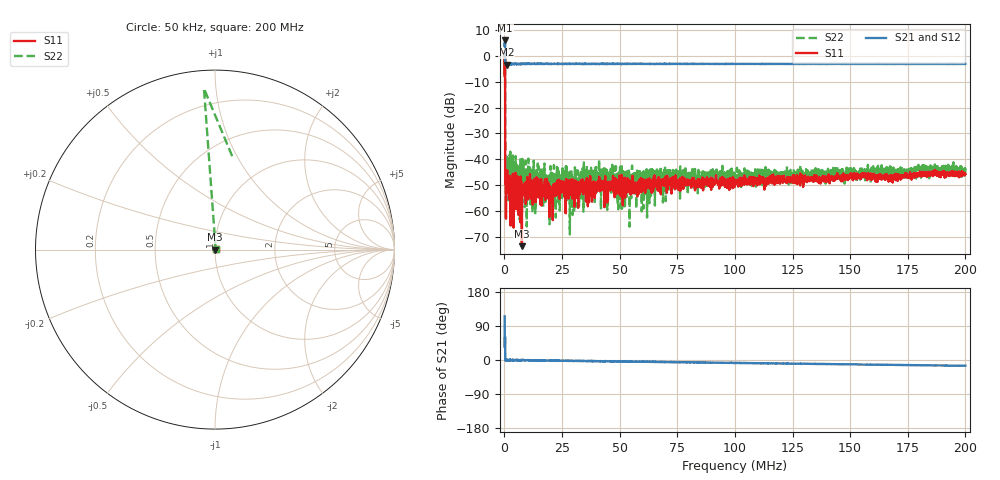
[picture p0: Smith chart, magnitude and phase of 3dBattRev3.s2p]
! 19-Feb-26 3:00:13 PM
! E:\VNA_MEASUREMENTS\RECBLOCK\3DBATTREV3.S2P
! CHANNEL.1
! TR.MEASUREMENT
! CORRECTED.DATA
# GHZ S RI R 50.0
! FREQ.GHZ  S11RE  S11IM  S21RE  S21IM  S12RE  S12IM  S22RE  S22IM
!; PortSelection: Port_12
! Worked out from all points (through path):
!   2000 points, 50 kHz to 200 MHz, reference 50 ohm
!   highest |S21| = 6.10 dB at 250 kHz (marker M1); lowest = -3.3 dB at 1.05 MHz (marker M2)
!   lowest |S11| = -73.7 dB at 7.552 MHz (marker M3), VSWR 1.00, Z = 50 + j0.0135 ohm
!   |S11| at or under -10 dB: 272.7 kHz to end of sweep
!   |S22| runs from -69.2 to 1.2 dB; largest |S21 - S12| = 2.3
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5e-05  0.1419 1.214  -0.736 1.563  0.1002 0.1966  -0.9902 -0.5909
0.00025005  0.1767 -1.186  0.9767 1.766  0.9206 -0.5733  -0.0616 0.8981
0.00105025  0.000577 -0.0031  0.6808 -0.0147  0.7138 -0.00492  -0.01 -0.00639
0.001350325  -0.00182 0.00177  0.7054 0.00409  0.6995 -0.00353  0.00172 0.00282
0.0016504  0.0014 -0.00291  0.699 -0.00269  0.7109 -0.00593  -0.00146 -0.000646
0.006251551  0.000882 -0.000287  0.709 -0.00574  0.7061 -0.00609  0.00243 0.000421
0.007551876  0.000155 0.000135  0.7001 -0.000976  0.7064 -0.00826  0.000841 0.0052
0.01275318  0.00252 0.00198  0.7131 -0.00572  0.7087 -0.0108  0.00657 0.000548
0.01495373  0.00195 0.00123  0.7047 -0.0137  0.7065 -0.014  0.00211 0.00202
0.02305575  0.00393 -1.56e-05  0.705 -0.0323  0.7084 -0.0204  -0.00156 0.00306
0.0260565  0.00175 -0.000627  0.7067 -0.0242  0.7064 -0.0237  0.00314 0.00089
0.02935733  0.00161 0.000622  0.7119 -0.0218  0.7057 -0.0279  0.00418 -0.0026
0.03345835  0.00161 0.00219  0.713 -0.0305  0.7064 -0.0325  0.00154 -0.000816
0.03805951  0.00178 0.00151  0.7072 -0.0353  0.7064 -0.0384  0.00363 0.00101
0.04436108  0.00157 0.000444  0.7116 -0.0343  0.7078 -0.0431  0.000768 -0.00191
0.04636158  0.00322 0.00185  0.7098 -0.0446  0.7038 -0.0453  0.00211 0.00217
0.05126281  0.00325 0.00106  0.7036 -0.0473  0.7073 -0.0466  0.00392 0.000188
0.06676668  0.00326 0.00156  0.7039 -0.064  0.7053 -0.0636  0.00391 0.00173
0.100075  0.00291 0.00118  0.6999 -0.1001  0.6992 -0.0937  0.00158 0.00268
0.1333833  0.00342 0.00188  0.696 -0.126  0.6968 -0.1244  0.00402 0.00344
0.1666917  0.00303 0.00204  0.6915 -0.154  0.6845 -0.1557  0.00567 0.00496
0.2  0.00434 0.00266  0.6849 -0.1854  0.6813 -0.1857  0.00349 0.00273
